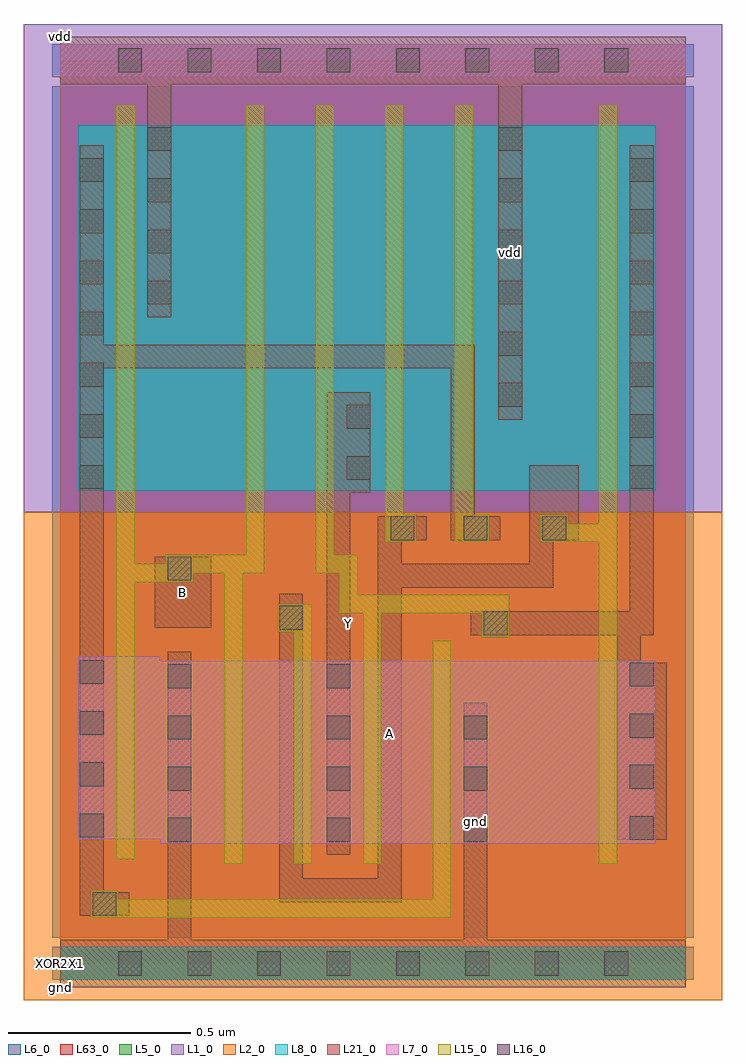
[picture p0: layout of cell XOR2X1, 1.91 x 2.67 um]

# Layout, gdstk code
import gdstk
lib = gdstk.Library(unit=1e-6, precision=1e-09)
def R(c, l, rs):  # rectangles x0, y0, x1, y1
    for r in rs: c.add(gdstk.rectangle(r[:2], r[2:], *l))
def A(c, l, x, y, w, h, nx, ny, dx, dy):  # array of equal rectangles
    R(c, l, [(x+i*dx, y+j*dy, x+i*dx+w, y+j*dy+h) for i in range(nx) for j in range(ny)])
def P(c, l, *ps):  # polygons
    for p in ps: c.add(gdstk.Polygon(p, *l))
L1_0 = (1, 0)
L2_0 = (2, 0)
L5_0 = (5, 0)
L6_0 = (6, 0)
L7_0 = (7, 0)
L8_0 = (8, 0)
L15_0 = (15, 0)
L16_0 = (16, 0)
L21_0 = (21, 0)
L63_0 = (63, 0)

xor2x1 = lib.new_cell('XOR2X1')
R(xor2x1, L1_0, [(-0.1,1.235,1.81,2.57)])
R(xor2x1, L2_0, [(-0.1,-0.1,1.81,1.235)])
A(xor2x1, L5_0, 0.448, 0.328, 0.05, 0.5, 4, 1, 0.19, 0)
A(xor2x1, L5_0, 0.498, 0.328, 0.14, 0.5, 3, 1, 0.19, 0)
A(xor2x1, L5_0, 0.508, 1.293, 0.05, 1, 4, 1, 0.19, 0)
A(xor2x1, L5_0, 0.558, 1.293, 0.14, 1, 3, 1, 0.19, 0)
R(xor2x1, L5_0, [(0,-0.045,1.71,0.045), (1.068,0.328,1.473,0.828), (1.473,0.328,1.523,0.828), (1.523,0.328,1.628,0.828), (0.048,0.34,0.153,0.84), (0.153,0.34,0.203,0.84), (0.048,1.293,0.153,2.293), (0.153,1.293,0.203,2.293), (0.203,1.293,0.508,2.293), (1.128,1.293,1.473,2.293), (1.473,1.293,1.523,2.293), (1.523,1.293,1.628,2.293), (0,2.425,1.71,2.515)])
P(xor2x1, L5_0, [(0.273,0.84),(0.273,0.828),(0.448,0.828),(0.448,0.328),(0.273,0.328),(0.273,0.34),(0.203,0.34),(0.203,0.84)])
R(xor2x1, L6_0, [(-0.023,-0.045,1.733,0.045), (-0.023,-0.045,1.733,0.045), (-0.023,0.07,1.733,1.235), (-0.023,1.235,1.733,2.4), (-0.023,2.425,1.733,2.515), (-0.023,2.425,1.733,2.515)])
A(xor2x1, L7_0, 0.448, 0.328, 0.05, 0.5, 4, 1, 0.19, 0)
A(xor2x1, L7_0, 0.498, 0.328, 0.14, 0.5, 3, 1, 0.19, 0)
R(xor2x1, L7_0, [(1.068,0.328,1.473,0.828), (1.473,0.328,1.523,0.828), (1.523,0.328,1.628,0.828), (0.048,0.34,0.153,0.84), (0.153,0.34,0.203,0.84), (0,2.425,1.71,2.515)])
P(xor2x1, L7_0, [(0.273,0.84),(0.273,0.828),(0.448,0.828),(0.448,0.328),(0.273,0.328),(0.273,0.34),(0.203,0.34),(0.203,0.84)])
A(xor2x1, L8_0, 0.508, 1.293, 0.05, 1, 4, 1, 0.19, 0)
A(xor2x1, L8_0, 0.558, 1.293, 0.14, 1, 3, 1, 0.19, 0)
R(xor2x1, L8_0, [(0,-0.045,1.71,0.045), (0.048,1.293,0.153,2.293), (0.153,1.293,0.203,2.293), (0.203,1.293,0.508,2.293), (1.128,1.293,1.473,2.293), (1.473,1.293,1.523,2.293), (1.523,1.293,1.628,2.293)])
A(xor2x1, L15_0, 0.448, 0.273, 0.05, 0.055, 3, 1, 0.19, 0)
A(xor2x1, L15_0, 0.448, 0.328, 0.05, 0.5, 4, 1, 0.19, 0)
A(xor2x1, L15_0, 0.508, 1.293, 0.05, 1, 4, 1, 0.19, 0)
A(xor2x1, L15_0, 0.508, 2.293, 0.05, 0.055, 4, 1, 0.19, 0)
R(xor2x1, L15_0, [(1.473,0.273,1.523,0.328), (0.153,0.285,0.203,0.34), (1.473,0.328,1.523,0.828), (0.153,0.34,0.203,0.84), (1.018,0.828,1.068,0.883), (0.153,1.293,0.203,2.293), (1.473,1.293,1.523,2.293), (0.153,2.293,0.203,2.348), (1.473,2.293,1.523,2.348)])
P(xor2x1, L15_0, [(0.153,1.293),(0.203,1.293),(0.203,1.093),(0.288,1.093),(0.288,1.118),(0.508,1.118),(0.508,1.293),(0.558,1.293),(0.558,1.068),(0.498,1.068),(0.498,0.828),(0.448,0.828),(0.448,1.068),(0.363,1.068),(0.363,1.043),(0.203,1.043),(0.203,0.84),(0.153,0.84)],
  [(0.638,0.908),(0.593,0.908),(0.593,0.983),(0.688,0.983),(0.688,0.828),(0.638,0.828)],
  [(0.748,1.118),(0.813,1.118),(0.813,1.008),(1.228,1.008),(1.228,0.893),(1.153,0.893),(1.153,0.958),(0.878,0.958),(0.878,0.828),(0.828,0.828),(0.828,0.958),(0.763,0.958),(0.763,1.068),(0.698,1.068),(0.698,1.293),(0.748,1.293)],
  [(0.938,1.228),(0.973,1.228),(0.973,1.153),(0.888,1.153),(0.888,1.293),(0.938,1.293)],
  [(1.018,0.175),(1.018,0.328),(1.068,0.328),(1.068,0.125),(0.083,0.125),(0.083,0.2),(0.158,0.2),(0.158,0.175)],
  [(1.128,1.228),(1.173,1.228),(1.173,1.153),(1.078,1.153),(1.078,1.293),(1.128,1.293)],
  [(1.473,1.153),(1.313,1.153),(1.313,1.228),(1.388,1.228),(1.388,1.203),(1.473,1.203),(1.473,1.293),(1.523,1.293),(1.523,0.828),(1.473,0.828)])
A(xor2x1, L16_0, 0.158, -0.033, 0.065, 0.066, 8, 1, 0.19, 0)
A(xor2x1, L16_0, 0.293, 0.333, 0.065, 0.065, 1, 4, 0, 0.14)
A(xor2x1, L16_0, 0.728, 0.333, 0.065, 0.065, 1, 4, 0, 0.14)
A(xor2x1, L16_0, 1.103, 0.333, 0.065, 0.065, 1, 3, 0, 0.14)
A(xor2x1, L16_0, 1.558, 0.338, 0.065, 0.065, 1, 4, 0, 0.14)
A(xor2x1, L16_0, 0.053, 0.345, 0.065, 0.065, 1, 4, 0, 0.14)
A(xor2x1, L16_0, 0.053, 1.298, 0.065, 0.065, 1, 7, 0, 0.14)
A(xor2x1, L16_0, 1.558, 1.298, 0.065, 0.065, 1, 7, 0, 0.14)
A(xor2x1, L16_0, 1.198, 1.523, 0.065, 0.065, 1, 3, 0, 0.14)
A(xor2x1, L16_0, 0.158, 2.438, 0.065, 0.065, 8, 1, 0.19, 0)
R(xor2x1, L16_0, [(0.088,0.13,0.153,0.195), (1.158,0.898,1.223,0.963), (0.598,0.913,0.663,0.978), (0.293,1.048,0.358,1.113), (0.903,1.158,0.968,1.223), (1.103,1.158,1.168,1.223), (1.318,1.158,1.383,1.223), (0.783,1.323,0.848,1.388), (0.783,1.463,0.848,1.528), (0.238,1.803,0.303,1.868), (0.238,1.943,0.303,2.007), (1.198,1.943,1.263,2.007), (0.238,2.083,0.303,2.148), (1.198,2.083,1.263,2.148), (0.238,2.223,0.303,2.288), (1.198,2.223,1.263,2.288)])
R(xor2x1, L21_0, [(0.258,0.918,0.413,1.113)])
P(xor2x1, L21_0, [(0,2.405),(0,2.535),(1.71,2.535),(1.71,2.405),(1.263,2.405),(1.263,1.488),(1.198,1.488),(1.198,2.405),(0.303,2.405),(0.303,1.768),(0.238,1.768),(0.238,2.405)],
  [(0,-0.065),(0,0.065),(0.293,0.065),(0.293,0.853),(0.358,0.853),(0.358,0.065),(1.103,0.065),(1.103,0.713),(1.168,0.713),(1.168,0.065),(1.71,0.065),(1.71,-0.065)],
  [(1.558,0.963),(1.558,2.238),(1.623,2.238),(1.623,0.898),(1.588,0.898),(1.588,0.823),(1.658,0.823),(1.658,0.338),(1.523,0.338),(1.523,0.898),(1.123,0.898),(1.123,0.963)],
  [(0.663,0.233),(0.868,0.233),(0.868,1.223),(1.002,1.223),(1.002,1.158),(0.933,1.158),(0.933,1.093),(1.283,1.093),(1.283,1.363),(1.418,1.363),(1.418,1.158),(1.348,1.158),(1.348,1.028),(0.933,1.028),(0.933,0.168),(0.598,0.168),(0.598,1.012),(0.663,1.012)],
  [(0.053,2.238),(0.118,2.238),(0.118,1.693),(1.133,1.693),(1.133,1.223),(1.203,1.223),(1.203,1.158),(1.068,1.158),(1.068,1.628),(0.118,1.628),(0.118,0.195),(0.188,0.195),(0.188,0.13),(0.053,0.13)],
  [(0.728,0.298),(0.728,1.563),(0.848,1.563),(0.848,1.288),(0.793,1.288),(0.793,0.298)])
R(xor2x1, L63_0, [(0,0,1.71,2.47)])
xor2x1.add(gdstk.Label('vdd', (1.23,1.946), layer=21, texttype=1))
xor2x1.add(gdstk.Label('gnd', (1.135,0.389), layer=21, texttype=1))
xor2x1.add(gdstk.Label('A', (0.9,0.63), layer=21, texttype=1))
xor2x1.add(gdstk.Label('Y', (0.788,0.93), layer=21, texttype=1))
xor2x1.add(gdstk.Label('B', (0.335,1.015), layer=21, texttype=1))
xor2x1.add(gdstk.Label('vdd', (0,2.535), layer=21, texttype=2))
xor2x1.add(gdstk.Label('gnd', (0,-0.065), layer=21, texttype=2))
xor2x1.add(gdstk.Label('XOR2X1', (0,0), layer=63, texttype=1))

lib.write_gds('XOR2X1.gds')
